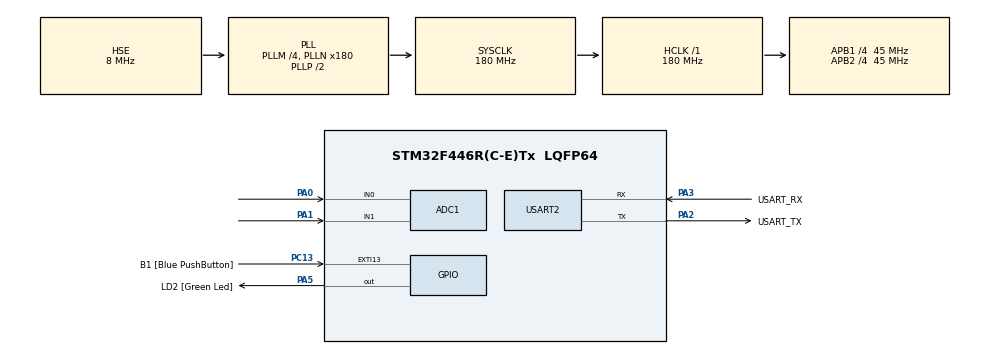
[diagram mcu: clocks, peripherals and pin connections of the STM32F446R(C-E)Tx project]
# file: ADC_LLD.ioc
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ADC1.Channel-0\#ChannelRegularConversion=ADC_CHANNEL_0
ADC1.NbrOfConversionFlag=1
ADC1.Rank-0\#ChannelRegularConversion=1
ADC1.SamplingTime-0\#ChannelRegularConversion=ADC_SAMPLETIME_144CYCLES
ADC1.master=1
Mcu.Family=STM32F4
Mcu.Name=STM32F446R(C-E)Tx
Mcu.Package=LQFP64
NVIC.ADC_IRQn=true\:0\:0\:false\:false\:true\:true\:true\:true
NVIC.PriorityGroup=NVIC_PRIORITYGROUP_0
PA0-WKUP.Signal=ADCx_IN0
PA1.Signal=ADCx_IN1
PA13.GPIO_Label=TMS
PA13.Mode=Serial_Wire
PA13.Signal=SYS_JTMS-SWDIO
PA14.GPIO_Label=TCK
PA14.Mode=Serial_Wire
PA14.Signal=SYS_JTCK-SWCLK
PA2.GPIO_Label=USART_TX
PA2.Mode=Asynchronous
PA2.Signal=USART2_TX
PA3.GPIO_Label=USART_RX
PA3.Mode=Asynchronous
PA3.Signal=USART2_RX
PA5.GPIO_Label=LD2 [Green Led]
PA5.Signal=GPIO_Output
PB3.GPIO_Label=SWO
PB3.Signal=SYS_JTDO-SWO
PC13.GPIO_Label=B1 [Blue PushButton]
PC13.GPIO_ModeDefaultEXTI=GPIO_MODE_IT_FALLING
PC13.Signal=GPXTI13
PC14-OSC32_IN.Mode=LSE-External-Oscillator
PC14-OSC32_IN.Signal=RCC_OSC32_IN
PC15-OSC32_OUT.Mode=LSE-External-Oscillator
PC15-OSC32_OUT.Signal=RCC_OSC32_OUT
PH0-OSC_IN.Mode=HSE-External-Oscillator
PH0-OSC_IN.Signal=RCC_OSC_IN
PH1-OSC_OUT.Mode=HSE-External-Oscillator
PH1-OSC_OUT.Signal=RCC_OSC_OUT
ProjectManager.HeapSize=0x200
ProjectManager.StackSize=0x400
ProjectManager.TargetToolchain=STM32CubeIDE
RCC.48MHZClocksFreq_Value=84000000
RCC.AHBFreq_Value=180000000
RCC.APB1CLKDivider=RCC_HCLK_DIV4
RCC.APB1Freq_Value=45000000
RCC.APB1TimFreq_Value=90000000
RCC.APB2CLKDivider=RCC_HCLK_DIV4
RCC.APB2Freq_Value=45000000
RCC.APB2TimFreq_Value=90000000
RCC.CortexFreq_Value=180000000
RCC.FLatency-AdvancedSettings=FLASH_LATENCY_5
RCC.HCLKFreq_Value=180000000
RCC.HSE_VALUE=8000000
RCC.HSI_VALUE=16000000
RCC.PLLM=4
RCC.PLLN=180
RCC.PLLSourceVirtual=RCC_PLLSOURCE_HSE
RCC.SYSCLKFreq_VALUE=180000000
RCC.SYSCLKSource=RCC_SYSCLKSOURCE_PLLCLK
RCC.USBFreq_Value=180000000
RCC.VCOOutputFreq_Value=360000000
SH.ADCx_IN0.0=ADC1_IN0,IN0
SH.ADCx_IN1.0=ADC1_IN1,IN1
USART2.VirtualMode=VM_ASYNC
board=NUCLEO-F446RE

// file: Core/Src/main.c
/* USER CODE BEGIN Header */
/**
  ******************************************************************************
  * @file           : main.c
  * @brief          : Main program body
  ******************************************************************************
  * @attention
  *
  * Copyright (c) 2026 STMicroelectronics.
  * All rights reserved.
  *
  * This software is licensed under terms that can be found in the LICENSE file
  * in the root directory of this software component.
  * If no LICENSE file comes with this software, it is provided AS-IS.
  *
  ******************************************************************************
  */
/* USER CODE END Header */
#include "main.h"

ADC_HandleTypeDef hadc1;

UART_HandleTypeDef huart2;

void SystemClock_Config(void);
static void MX_GPIO_Init(void);
static void MX_USART2_UART_Init(void);
static void MX_ADC1_Init(void);
/* USER CODE BEGIN PFP */
uint32_t ADC_Read(void);

uint32_t adc_value;

/* USER CODE END PFP */

/* USER CODE BEGIN 0 */
int _write(int file, char *ptr, int len)
{
    HAL_UART_Transmit(&huart2, (uint8_t*)ptr, len, HAL_MAX_DELAY);
    return len;
}

/* USER CODE END 0 */

int main(void)
{

  /* MCU Configuration--------------------------------------------------------*/

  /* Reset of all peripherals, Initializes the Flash interface and the Systick. */
  HAL_Init();

  /* Configure the system clock */
  SystemClock_Config();

  /* Initialize all configured peripherals */
  MX_GPIO_Init();
  MX_USART2_UART_Init();
  MX_ADC1_Init();
  /* USER CODE BEGIN 2 */
  HAL_ADC_Start_IT(&hadc1);
  /* USER CODE END 2 */

  /* Infinite loop */
  while (1)
  {

    /* USER CODE BEGIN 3 */
	 // uint32_t adc_val=ADC_Read();
	  printf("adc raw count = %d\r\n", adc_value);
	  float Voltage= (adc_value*3.3f)/4095.0f;
	  printf("Voltage = %f\r\n", Voltage);
	  HAL_Delay(2000);
  }
  /* USER CODE END 3 */
}

void SystemClock_Config(void)
{
  RCC_OscInitTypeDef RCC_OscInitStruct = {0};
  RCC_ClkInitTypeDef RCC_ClkInitStruct = {0};

  /** Configure the main internal regulator output voltage
  */
  __HAL_RCC_PWR_CLK_ENABLE();
  __HAL_PWR_VOLTAGESCALING_CONFIG(PWR_REGULATOR_VOLTAGE_SCALE1);

  /** Initializes the RCC Oscillators according to the specified parameters
  * in the RCC_OscInitTypeDef structure.
  */
  RCC_OscInitStruct.OscillatorType = RCC_OSCILLATORTYPE_HSE;
  RCC_OscInitStruct.HSEState = RCC_HSE_ON;
  RCC_OscInitStruct.PLL.PLLState = RCC_PLL_ON;
  RCC_OscInitStruct.PLL.PLLSource = RCC_PLLSOURCE_HSE;
  RCC_OscInitStruct.PLL.PLLM = 4;
  RCC_OscInitStruct.PLL.PLLN = 180;
  RCC_OscInitStruct.PLL.PLLP = RCC_PLLP_DIV2;
  RCC_OscInitStruct.PLL.PLLQ = 2;
  RCC_OscInitStruct.PLL.PLLR = 2;
  if (HAL_RCC_OscConfig(&RCC_OscInitStruct) != HAL_OK)
  {
    Error_Handler();
  }

  /** Activate the Over-Drive mode
  */
  if (HAL_PWREx_EnableOverDrive() != HAL_OK)
  {
    Error_Handler();
  }

  /** Initializes the CPU, AHB and APB buses clocks
  */
  RCC_ClkInitStruct.ClockType = RCC_CLOCKTYPE_HCLK|RCC_CLOCKTYPE_SYSCLK
                              |RCC_CLOCKTYPE_PCLK1|RCC_CLOCKTYPE_PCLK2;
  RCC_ClkInitStruct.SYSCLKSource = RCC_SYSCLKSOURCE_PLLCLK;
  RCC_ClkInitStruct.AHBCLKDivider = RCC_SYSCLK_DIV1;
  RCC_ClkInitStruct.APB1CLKDivider = RCC_HCLK_DIV4;
  RCC_ClkInitStruct.APB2CLKDivider = RCC_HCLK_DIV4;

  if (HAL_RCC_ClockConfig(&RCC_ClkInitStruct, FLASH_LATENCY_5) != HAL_OK)
  {
    Error_Handler();
  }
}

static void MX_ADC1_Init(void)
{

  ADC_ChannelConfTypeDef sConfig = {0};

  /** Configure the global features of the ADC (Clock, Resolution, Data Alignment and number of conversion)
  */
  hadc1.Instance = ADC1;
  hadc1.Init.ClockPrescaler = ADC_CLOCK_SYNC_PCLK_DIV2;
  hadc1.Init.Resolution = ADC_RESOLUTION_12B;
  hadc1.Init.ScanConvMode = DISABLE;
  hadc1.Init.ContinuousConvMode = DISABLE;
  hadc1.Init.DiscontinuousConvMode = DISABLE;
  hadc1.Init.ExternalTrigConvEdge = ADC_EXTERNALTRIGCONVEDGE_NONE;
  hadc1.Init.ExternalTrigConv = ADC_SOFTWARE_START;
  hadc1.Init.DataAlign = ADC_DATAALIGN_RIGHT;
  hadc1.Init.NbrOfConversion = 1;
  hadc1.Init.DMAContinuousRequests = DISABLE;
  hadc1.Init.EOCSelection = ADC_EOC_SINGLE_CONV;
  if (HAL_ADC_Init(&hadc1) != HAL_OK)
  {
    Error_Handler();
  }

  /** Configure for the selected ADC regular channel its corresponding rank in the sequencer and its sample time.
  */
  sConfig.Channel = ADC_CHANNEL_0;
  sConfig.Rank = 1;
  sConfig.SamplingTime = ADC_SAMPLETIME_144CYCLES;
  if (HAL_ADC_ConfigChannel(&hadc1, &sConfig) != HAL_OK)
  {
    Error_Handler();
  }

}

static void MX_USART2_UART_Init(void)
{

  huart2.Instance = USART2;
  huart2.Init.BaudRate = 115200;
  huart2.Init.WordLength = UART_WORDLENGTH_8B;
  huart2.Init.StopBits = UART_STOPBITS_1;
  huart2.Init.Parity = UART_PARITY_NONE;
  huart2.Init.Mode = UART_MODE_TX_RX;
  huart2.Init.HwFlowCtl = UART_HWCONTROL_NONE;
  huart2.Init.OverSampling = UART_OVERSAMPLING_16;
  if (HAL_UART_Init(&huart2) != HAL_OK)
  {
    Error_Handler();
  }

}

static void MX_GPIO_Init(void)
{
  GPIO_InitTypeDef GPIO_InitStruct = {0};

  /* GPIO Ports Clock Enable */
  __HAL_RCC_GPIOC_CLK_ENABLE();
  __HAL_RCC_GPIOH_CLK_ENABLE();
  __HAL_RCC_GPIOA_CLK_ENABLE();
  __HAL_RCC_GPIOB_CLK_ENABLE();

  /*Configure GPIO pin Output Level */
  HAL_GPIO_WritePin(LD2_GPIO_Port, LD2_Pin, GPIO_PIN_RESET);

  /*Configure GPIO pin : B1_Pin */
  GPIO_InitStruct.Pin = B1_Pin;
  GPIO_InitStruct.Mode = GPIO_MODE_IT_FALLING;
  GPIO_InitStruct.Pull = GPIO_NOPULL;
  HAL_GPIO_Init(B1_GPIO_Port, &GPIO_InitStruct);

  /*Configure GPIO pin : LD2_Pin */
  GPIO_InitStruct.Pin = LD2_Pin;
  GPIO_InitStruct.Mode = GPIO_MODE_OUTPUT_PP;
  GPIO_InitStruct.Pull = GPIO_NOPULL;
  GPIO_InitStruct.Speed = GPIO_SPEED_FREQ_LOW;
  HAL_GPIO_Init(LD2_GPIO_Port, &GPIO_InitStruct);

}

/* USER CODE BEGIN 4 */
uint32_t ADC_Read(void)
{
    uint32_t value = 0;

    HAL_ADC_Start(&hadc1);

    if (HAL_ADC_PollForConversion(&hadc1, 10) == HAL_OK)
    {
        value = HAL_ADC_GetValue(&hadc1);
    }

    HAL_ADC_Stop(&hadc1);

    return value;
}

//callback function for adc interrupt
void HAL_ADC_ConvCpltCallback(ADC_HandleTypeDef *hadc)
{
    if (hadc->Instance == ADC1)
    {
        adc_value = HAL_ADC_GetValue(hadc);

        // Restart ADC for next conversion (important if not continuous mode)
        HAL_ADC_Start_IT(hadc);
    }
}
/* USER CODE END 4 */

void Error_Handler(void)
{
  __disable_irq();
  while (1)
  {
  }
}
